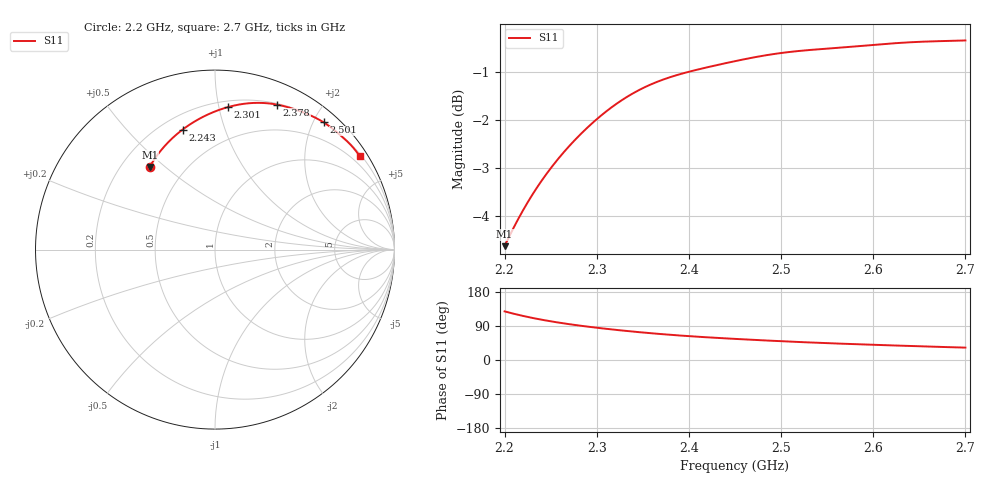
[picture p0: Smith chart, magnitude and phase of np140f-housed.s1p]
! PRELIMINARY bare PCB unless shell_eps > 0; see README.md
! L220 output ($1N324); all Gerber copper, components omitted (C216/L220/C217 not populated)
# Hz S RI R 50
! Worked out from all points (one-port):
!   501 points, 2.2 GHz to 2.7 GHz, reference 50 ohm
!   lowest |S11| = -4.6 dB at 2.2 GHz (marker M1), VSWR 3.84, Z = 15.8 + j22.2 ohm
!   |S11| at or under -10 dB: nowhere
!   S11 on the Smith chart (normalised r, x): 2.2 GHz: 0.32, +0.44; 2.243 GHz: 0.28, +0.73; 2.301 GHz: 0.24, +1.06; 2.378 GHz: 0.21, +1.49; 2.501 GHz: 0.20, +2.15; 2.7 GHz: 0.25, +3.39
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2.2e9  -0.3641 0.4606
2.202e9  -0.3567 0.4732
2.207e9  -0.3375 0.5035
2.214e9  -0.309 0.5428
2.222e9  -0.2747 0.5832
2.232e9  -0.2301 0.6275
2.243e9  -0.1803 0.6688
2.253e9  -0.135 0.7005
2.263e9  -0.0903 0.7272
2.281e9  -0.0119 0.7649
2.301e9  0.0716 0.7937
2.313e9  0.1197 0.8053
2.325e9  0.1663 0.813
2.337e9  0.2109 0.8169
2.35e9  0.2569 0.8174
2.364e9  0.3031 0.8141
2.378e9  0.3456 0.8077
2.388e9  0.3737 0.8017
2.416e9  0.4434 0.7818
2.45e9  0.5151 0.7549
2.476e9  0.5636 0.7325
2.501e9  0.6054 0.7088
2.513e9  0.6236 0.6968
2.541e9  0.6612 0.6685
2.575e9  0.7001 0.6358
2.638e9  0.7621 0.577
2.668e9  0.7863 0.5482
2.7e9  0.808 0.5189
